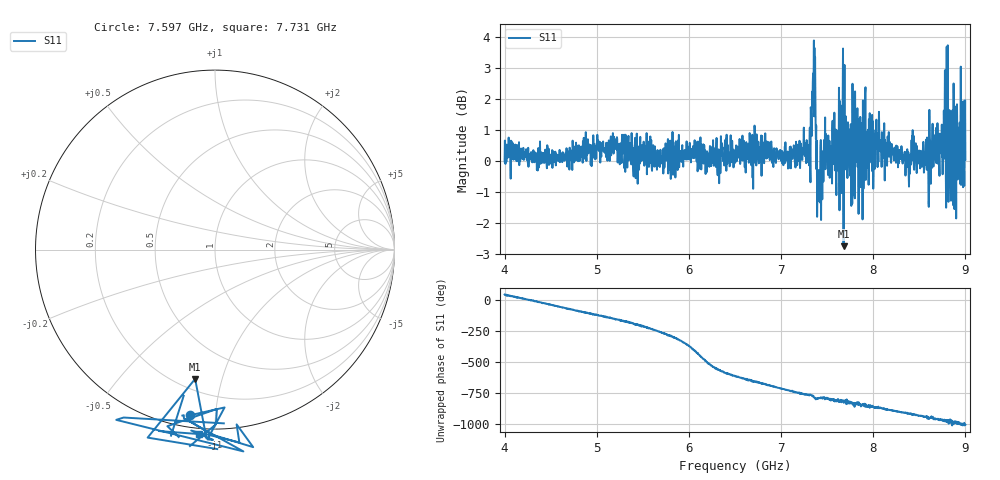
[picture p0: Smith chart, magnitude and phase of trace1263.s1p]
! Created with skrf 1.8.0 (http://scikit-rf.org).
# Hz S RI R 50.0
!freq ReS11 ImS11
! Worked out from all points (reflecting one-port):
!   1601 points, 4 GHz to 9 GHz, reference 50 ohm
!   lowest |S11| = -2.7 dB at 7.678 GHz (marker M1), VSWR 6.37, Z = 13.4 - j41.1 ohm
!   phase of S11 starts at 48 deg and turns -1056 deg over the sweep
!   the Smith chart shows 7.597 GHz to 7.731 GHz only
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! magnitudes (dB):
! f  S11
! 4 GHz  0.0
! 4.625 GHz  0.0
! 5.25 GHz  -0.1
! 5.875 GHz  0.1
! 6.5 GHz  0.3
! 7.125 GHz  0.3
! 7.294 GHz  0.0
! 7.347 GHz  2.8
! 7.362 GHz  3.7
! 7.409 GHz  -0.9
! 7.488 GHz  0.9
! 7.609 GHz  0.1
! 7.678 GHz  -2.7
! 7.75 GHz  0.1
! 7.769 GHz  -0.3
! 7.828 GHz  1.7
! 7.881 GHz  0.8
! 8.047 GHz  -0.2
! 8.375 GHz  0.0
! 8.441 GHz  -0.2
! 8.612 GHz  0.8
! 8.666 GHz  0.6
! 8.738 GHz  0.4
! 8.788 GHz  -0.5
! 8.841 GHz  1.5
! 8.919 GHz  -0.1
! 8.972 GHz  1.0
! 9 GHz  0.0
